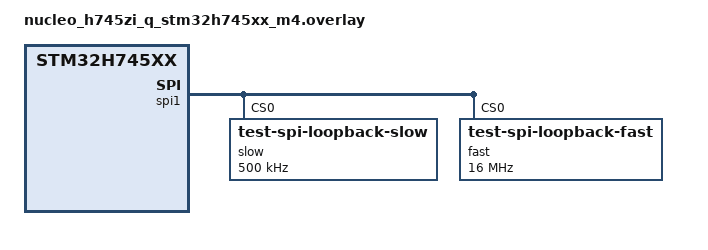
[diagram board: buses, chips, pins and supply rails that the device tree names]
/*
 * Copyright (c) 2024 Linutronix GmbH
 *
 * SPDX-License-Identifier: Apache-2.0
 */

/* Set div-q to get test clk freq into acceptable SPI freq range */
&pll {
	/delete-property/ div-q;
	div-q = <8>;
};

&sram2 {
	zephyr,memory-attr = < DT_MEM_ARM(ATTR_MPU_RAM_NOCACHE) >;
};

&spi1 {
	dmas = <&dmamux1 0 38 (STM32_DMA_PERIPH_TX | STM32_DMA_PRIORITY_HIGH)
		&dmamux1 1 37 (STM32_DMA_PERIPH_RX | STM32_DMA_PRIORITY_HIGH)>;
	dma-names = "tx", "rx";
	slow@0 {
		compatible = "test-spi-loopback-slow";
		reg = <0>;
		spi-max-frequency = <500000>;
	};
	fast@0 {
		compatible = "test-spi-loopback-fast";
		reg = <0>;
		spi-max-frequency = <16000000>;
	};
};

&dma1 {
	status = "okay";
};

&dma2 {
	status = "okay";
};

&dmamux1 {
	status = "okay";
};
